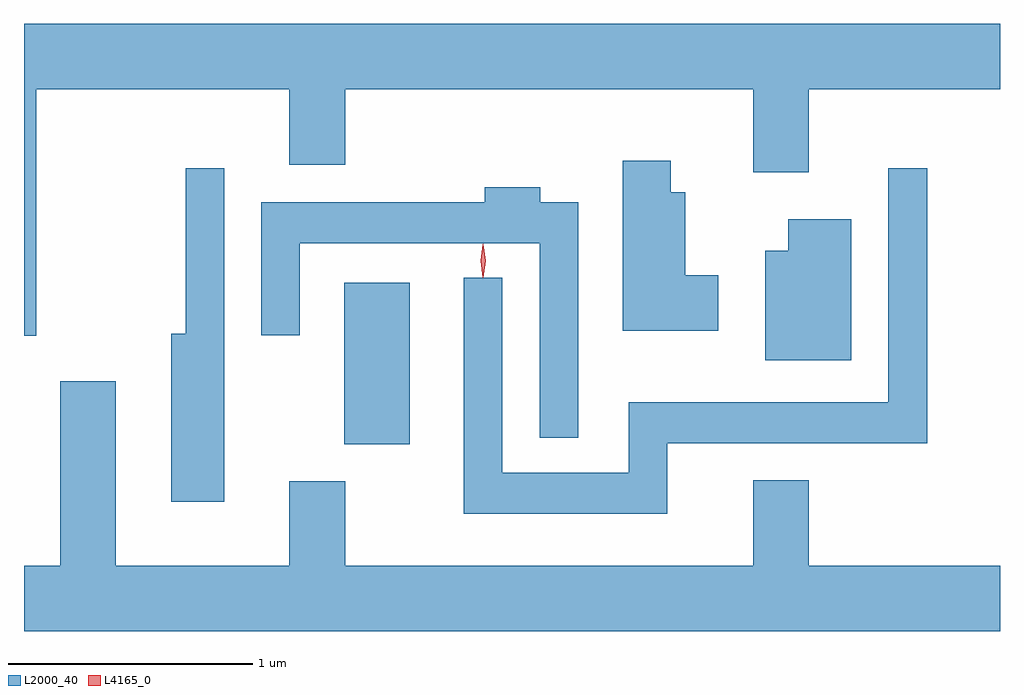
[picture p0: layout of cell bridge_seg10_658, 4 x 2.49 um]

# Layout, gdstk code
import gdstk
lib = gdstk.Library(unit=1e-6, precision=1e-09)
def R(c, l, rs):  # rectangles x0, y0, x1, y1
    for r in rs: c.add(gdstk.rectangle(r[:2], r[2:], *l))
def P(c, l, *ps):  # polygons
    for p in ps: c.add(gdstk.Polygon(p, *l))
L2000_40 = (2000, 40)
L4165_0 = (4165, 0)

bridge_seg10_658 = lib.new_cell('bridge_seg10_658')
R(bridge_seg10_658, L2000_40, [(997.076,2110.241,997.344,2110.904)])
P(bridge_seg10_658, L2000_40, [(995.814,2111.696),(996.851,2111.696),(996.851,2111.386),(997.079,2111.386),(997.079,2111.696),(998.751,2111.696),(998.751,2111.356),(998.979,2111.356),(998.979,2111.696),(999.763,2111.696),(999.763,2111.964),(995.763,2111.964),(995.763,2110.686),(995.814,2110.686)],
  [(998.609,2110.934),(998.474,2110.934),(998.474,2111.274),(998.414,2111.274),(998.414,2111.404),(998.216,2111.404),(998.216,2110.706),(998.609,2110.706)],
  [(996.584,2111.373),(996.426,2111.373),(996.426,2110.694),(996.366,2110.694),(996.366,2110.006),(996.584,2110.006)],
  [(998.399,2110.246),(999.464,2110.246),(999.464,2111.373),(999.306,2111.373),(999.306,2110.414),(998.241,2110.414),(998.241,2110.124),(997.724,2110.124),(997.724,2110.923),(997.566,2110.923),(997.566,2109.956),(998.399,2109.956)],
  [(998.034,2111.234),(997.879,2111.234),(997.879,2111.294),(997.651,2111.294),(997.651,2111.234),(996.736,2111.234),(996.736,2110.688),(996.894,2110.688),(996.894,2111.066),(997.876,2111.066),(997.876,2110.268),(998.034,2110.268)],
  [(999.154,2111.164),(998.896,2111.164),(998.896,2111.034),(998.801,2111.034),(998.801,2110.586),(999.154,2110.586)],
  [(999.763,2109.744),(998.979,2109.744),(998.979,2110.094),(998.751,2110.094),(998.751,2109.744),(997.079,2109.744),(997.079,2110.089),(996.851,2110.089),(996.851,2109.744),(996.139,2109.744),(996.139,2110.499),(995.911,2110.499),(995.911,2109.744),(995.763,2109.744),(995.763,2109.476),(999.763,2109.476)])
P(bridge_seg10_658, L4165_0, [(997.645,2110.927),(997.644,2110.928),(997.635,2110.994),(997.644,2111.06),(997.645,2111.06),(997.645,2111.06),(997.655,2110.994),(997.645,2110.928)],
  [(997.644,2110.924),(997.635,2110.994),(997.644,2111.062),(997.645,2111.063),(997.645,2111.062),(997.655,2110.994),(997.645,2110.924),(997.645,2110.924)])

lib.write_gds('bridge_seg10_658.gds')
